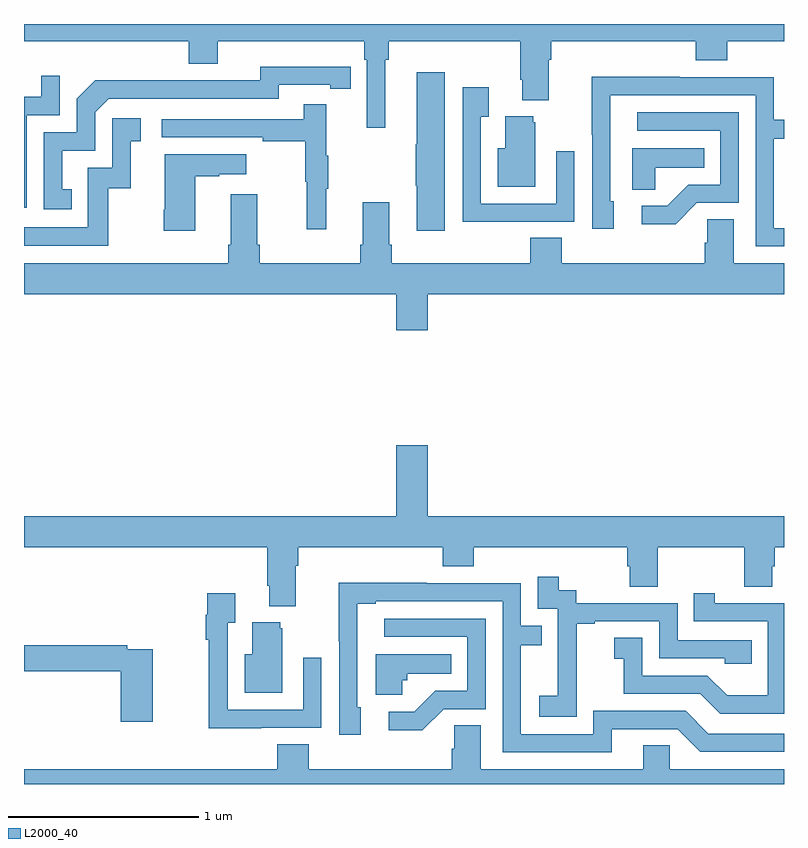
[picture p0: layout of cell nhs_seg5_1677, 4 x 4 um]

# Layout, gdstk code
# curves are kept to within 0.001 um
import gdstk
lib = gdstk.Library(unit=1e-6, precision=1e-09)
def P(c, l, *ps):  # polygons
    for p in ps: c.add(gdstk.Polygon(p, *l))
L2000_40 = (2000, 40)

nhs_seg5_1677 = lib.new_cell('nhs_seg5_1677')
P(nhs_seg5_1677, L2000_40, [(211,908.708),(211.868,908.708),(211.868,908.591),(212.02,908.591),(212.02,908.708),(212.792,908.708),(212.792,908.612),(212.805,908.612),(212.805,908.253),(212.902,908.253),(212.902,908.612),(212.921,908.612),(212.921,908.708),(213.611,908.708),(213.611,908.506),(213.623,908.506),(213.623,908.399),(213.763,908.399),(213.763,908.612),(213.776,908.612),(213.776,908.708),(214.535,908.708),(214.535,908.609),(214.7,908.609),(214.7,908.708),(215,908.708),(215,908.799),(211,908.799)],
  [(211.25,907.929),(211.201,907.929),(211.201,908.133),(211.374,908.133),(211.374,908.334),(211.446,908.406),(212.34,908.406),(212.34,908.478),(212.612,908.478),(212.612,908.458),(212.72,908.458),(212.72,908.574),(212.244,908.575),(212.244,908.502),(211.784,908.502),(211.784,908.504),(211.376,908.504),(211.278,908.406),(211.278,908.229),(211.104,908.229),(211.104,907.824),(211.25,907.824)],
  [(213.214,908.545),(213.068,908.545),(213.068,908.165),(213.061,908.165),(213.061,907.948),(213.068,907.948),(213.068,907.71),(213.214,907.71)],
  [(211.014,908.319),(211.188,908.319),(211.188,908.527),(211.091,908.527),(211.091,908.415),(211,908.415),(211,907.833),(211.014,907.833)],
  [(215,907.725),(214.947,907.725),(214.947,908.194),(215,908.194),(215,908.295),(214.947,908.295),(214.947,908.52),(214.451,908.52),(214.451,908.522),(213.988,908.522),(213.988,908.215),(213.99,908.215),(213.99,907.722),(214.105,907.722),(214.105,907.866),(214.086,907.866),(214.086,908.424),(214.851,908.424),(214.851,907.629),(215,907.629)],
  [(213.581,907.758),(213.897,907.758),(213.897,908.128),(213.801,908.128),(213.801,907.854),(213.405,907.854),(213.405,908.311),(213.445,908.311),(213.445,908.467),(213.309,908.467),(213.309,907.757),(213.581,907.757)],
  [(212.591,907.931),(212.602,907.931),(212.602,908.105),(212.591,908.105),(212.591,908.377),(212.473,908.377),(212.473,908.298),(211.725,908.298),(211.725,908.202),(212.257,908.202),(212.257,908.182),(212.481,908.182),(212.481,907.968),(212.488,907.968),(212.488,907.719),(212.591,907.719)],
  [(214.542,907.857),(214.761,907.857),(214.761,908.334),(214.227,908.334),(214.227,908.238),(214.665,908.238),(214.665,907.953),(214.496,907.953),(214.385,907.842),(214.251,907.842),(214.251,907.745),(214.429,907.745)],
  [(213.691,908.283),(213.68,908.283),(213.68,908.314),(213.533,908.314),(213.533,908.146),(213.494,908.146),(213.494,907.943),(213.691,907.943)],
  [(211.444,907.935),(211.562,907.935),(211.562,908.181),(211.615,908.181),(211.615,908.302),(211.464,908.302),(211.464,908.043),(211.335,908.043),(211.335,907.728),(211,907.728),(211,907.632),(211.444,907.632)],
  [(214.323,908.042),(214.58,908.042),(214.58,908.146),(214.202,908.146),(214.202,907.927),(214.323,907.927)],
  [(211.9,907.999),(212.027,907.999),(212.027,908.009),(212.17,908.009),(212.17,908.113),(211.742,908.113),(211.742,907.822),(211.735,907.822),(211.735,907.71),(211.9,907.71)],
  [(213.124,907.376),(215,907.376),(215,907.54),(214.735,907.54),(214.735,907.772),(214.596,907.772),(214.596,907.649),(214.583,907.649),(214.583,907.54),(213.83,907.54),(213.83,907.673),(213.665,907.673),(213.665,907.54),(212.936,907.54),(212.936,907.636),(212.923,907.636),(212.923,907.861),(212.783,907.861),(212.783,907.636),(212.771,907.636),(212.771,907.54),(212.24,907.54),(212.24,907.636),(212.227,907.636),(212.227,907.903),(212.087,907.903),(212.087,907.636),(212.075,907.636),(212.075,907.54),(211,907.54),(211,907.376),(212.96,907.376),(212.96,907.188),(213.124,907.188)],
  [(212.431,905.948),(212.444,905.948),(212.444,906.044),(213.203,906.044),(213.203,905.945),(213.368,905.945),(213.368,906.044),(214.175,906.044),(214.175,905.946),(214.187,905.946),(214.187,905.836),(214.335,905.836),(214.335,906.044),(214.792,906.044),(214.792,905.836),(214.939,905.836),(214.939,905.946),(214.952,905.946),(214.952,906.044),(215,906.044),(215,906.208),(213.124,906.208),(213.124,906.583),(212.96,906.583),(212.96,906.208),(211,906.208),(211,906.044),(212.279,906.044),(212.279,905.842),(212.291,905.842),(212.291,905.735),(212.431,905.735)],
  [(213.909,905.359),(213.908,905.359),(213.908,905.643),(214.003,905.643),(214.003,905.655),(214.344,905.655),(214.344,905.46),(214.689,905.46),(214.689,905.433),(214.829,905.433),(214.829,905.556),(214.44,905.556),(214.44,905.751),(213.906,905.751),(213.906,905.82),(213.814,905.82),(213.814,905.89),(213.705,905.89),(213.705,905.721),(213.81,905.721),(213.81,905.492),(213.809,905.492),(213.809,905.263),(213.711,905.263),(213.711,905.153),(213.909,905.153)],
  [(214.093,905.088),(214.44,905.088),(214.56,904.968),(215,904.968),(215,905.064),(214.602,905.064),(214.482,905.184),(213.996,905.184),(213.996,905.061),(213.615,905.061),(213.615,905.53),(213.725,905.53),(213.725,905.631),(213.615,905.631),(213.615,905.856),(213.119,905.856),(213.119,905.858),(212.656,905.858),(212.656,905.551),(212.658,905.551),(212.658,905.058),(212.773,905.058),(212.773,905.202),(212.754,905.202),(212.754,905.748),(212.851,905.748),(212.851,905.76),(213.519,905.76),(213.519,904.965),(214.093,904.965)],
  [(212.249,905.094),(212.565,905.094),(212.565,905.464),(212.469,905.464),(212.469,905.19),(212.073,905.19),(212.073,905.647),(212.113,905.647),(212.113,905.803),(211.965,905.803),(211.965,905.69),(211.957,905.69),(211.957,905.558),(211.972,905.558),(211.972,905.093),(212.249,905.093)],
  [(215,905.751),(214.636,905.751),(214.636,905.803),(214.525,905.803),(214.525,905.655),(214.914,905.655),(214.914,905.266),(214.7,905.266),(214.596,905.37),(214.254,905.37),(214.254,905.569),(214.107,905.569),(214.107,905.459),(214.156,905.459),(214.156,905.274),(214.559,905.274),(214.664,905.169),(215,905.169)],
  [(213.21,905.193),(213.429,905.193),(213.429,905.67),(212.895,905.67),(212.895,905.574),(213.333,905.574),(213.333,905.289),(213.164,905.289),(213.053,905.178),(212.919,905.178),(212.919,905.081),(213.097,905.081)],
  [(212.359,905.619),(212.348,905.619),(212.348,905.65),(212.201,905.65),(212.201,905.482),(212.162,905.482),(212.162,905.279),(212.359,905.279)],
  [(211.678,905.508),(211.544,905.508),(211.544,905.528),(211,905.528),(211,905.392),(211.508,905.392),(211.508,905.127),(211.678,905.127)],
  [(212.991,905.346),(213.018,905.346),(213.018,905.378),(213.248,905.378),(213.248,905.482),(212.852,905.482),(212.852,905.27),(212.991,905.27)],
  [(215,904.876),(214.398,904.876),(214.398,905.003),(214.259,905.003),(214.259,904.876),(213.403,904.876),(213.403,905.108),(213.264,905.108),(213.264,904.985),(213.251,904.985),(213.251,904.876),(212.498,904.876),(212.498,905.009),(212.333,905.009),(212.333,904.876),(211,904.876),(211,904.799),(215,904.799)])

lib.write_gds('nhs_seg5_1677.gds')
